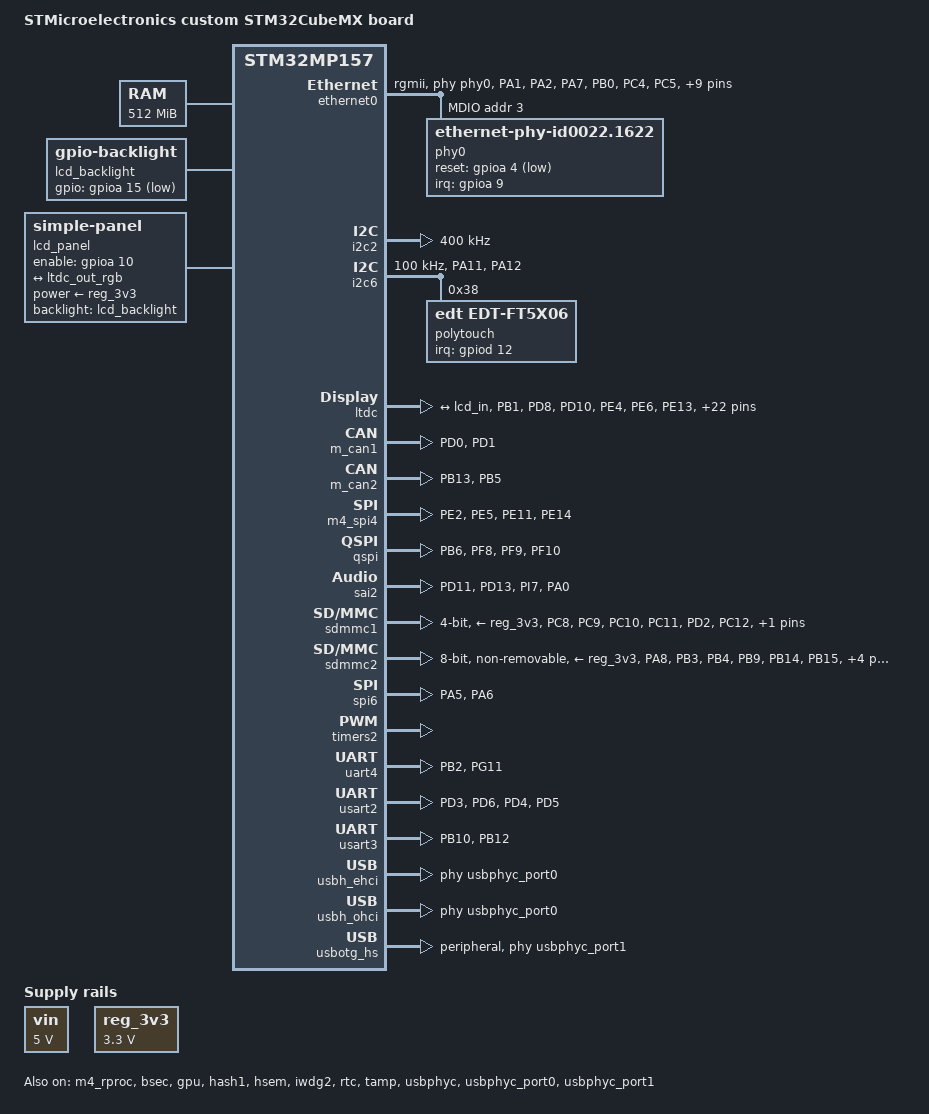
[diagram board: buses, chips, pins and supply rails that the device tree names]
/* SPDX-License-Identifier: (GPL-2.0+ OR BSD-3-Clause) */
/*
 * Copyright (C) STMicroelectronics 2021 - All Rights Reserved
 * Author: STM32CubeMX code generation for STMicroelectronics.
 */

/* For more information on Device Tree configuration, please refer to
 * https://wiki.st.com/stm32mpu/wiki/Category:Device_tree_configuration
 */

/dts-v1/;
#include <dt-bindings/pinctrl/stm32-pinfunc.h>

#include "stm32mp157.dtsi"
#include "stm32mp15xc.dtsi"
#include "stm32mp15xxac-pinctrl.dtsi"
#include "stm32mp15-m4-srm.dtsi"

/* USER CODE BEGIN includes */
#include <dt-bindings/mfd/st,stpmic1.h>
#include <dt-bindings/rtc/rtc-stm32.h>
/* USER CODE END includes */

/ {
	model = "STMicroelectronics custom STM32CubeMX board";
	compatible = "st,stm32mp157c-qsmp1570-mx", "st,stm32mp157";

	memory@c0000000 {
		device_type = "memory";
		reg = <0xc0000000 0x20000000>;

		/* USER CODE BEGIN memory */
		/* USER CODE END memory */
	};

	reserved-memory {
		#address-cells = <1>;
		#size-cells = <1>;
		ranges;

		/* USER CODE BEGIN reserved-memory */
    mcuram2:mcuram2@10000000{
			compatible = "shared-dma-pool";
			reg = <0x10000000 0x40000>;
			no-map;
		};

		vdev0vring0:vdev0vring0@10040000{
			compatible = "shared-dma-pool";
			reg = <0x10040000 0x1000>;
			no-map;
		};

		vdev0vring1:vdev0vring1@10041000{
			compatible = "shared-dma-pool";
			reg = <0x10041000 0x1000>;
			no-map;
		};

		vdev0buffer:vdev0buffer@10042000{
			compatible = "shared-dma-pool";
			reg = <0x10042000 0x4000>;
			no-map;
		};

		mcuram:mcuram@30000000{
			compatible = "shared-dma-pool";
			reg = <0x30000000 0x40000>;
			no-map;
		};

		retram:retram@38000000{
			compatible = "shared-dma-pool";
			reg = <0x38000000 0x10000>;
			no-map;
		};

		gpu_reserved:gpu@da000000{
			reg = <0xda000000 0x4000000>;
			no-map;
		};


		/* USER CODE END reserved-memory */
	};

	/* USER CODE BEGIN root */

  vin:vin{
		compatible = "regulator-fixed";
		regulator-name = "vin";
		regulator-min-microvolt = <5000000>;
		regulator-max-microvolt = <5000000>;
		regulator-always-on;
	};

/* that does not work, switches the pin but phy not found -> problem with bootstraping?
  phy_regulator: phy_regulator {
      compatible = "regulator-fixed";
      regulator-name = "phy_regulator";
      regulator-min-microvolt = <3300000>;
      regulator-max-microvolt = <3300000>;
      gpio = <&gpioa 4 GPIO_ACTIVE_HIGH>;
      enable-active-high;
      regulator-always-on;
  };
*/

	aliases{
		ethernet0 = &ethernet0;
    mmc0 = &sdmmc1;
		mmc1 = &sdmmc2;
		serial0 = &uart4;
		serial1 = &usart3;
		serial2 = &usart2;
    display0 = &lcd_panel;

	};

	chosen{
		stdout-path = "serial0:115200n8";
	};

  reg_3v3: regulator-3v3 {
		compatible = "regulator-fixed";
		regulator-name = "3v3";
		regulator-min-microvolt = <3300000>;
		regulator-max-microvolt = <3300000>;
		regulator-always-on;
	};

  vddcore:buck1{
    regulator-name = "vddcore";
    regulator-min-microvolt = <1200000>;
    regulator-max-microvolt = <1350000>;
    regulator-always-on;
    regulator-over-current-protection;
  };

  vdd_ddr:buck2{
    regulator-name = "vdd_ddr";
    regulator-min-microvolt = <1350000>;
    regulator-max-microvolt = <1350000>;
    regulator-always-on;
    regulator-over-current-protection;
  };

  usb_phy_tuning: usb-phy-tuning {
		st,hs-dc-level = <2>;
		st,fs-rftime-tuning;
		st,hs-rftime-reduction;
		st,hs-current-trim = <15>;
		st,hs-impedance-trim = <1>;
		st,squelch-level = <3>;
		st,hs-rx-offset = <2>;
		st,no-lsfs-sc;
	};


  lcd_backlight: lcd-backlight {
		compatible = "gpio-backlight";
		gpios = <&gpioa 15 GPIO_ACTIVE_LOW>;
		default-on;
    status = "okay";
	};


  /*
  lcd_backlight: lcd-backlight {
    compatible = "pwm-backlight";
    pinctrl-names = "default", "sleep";
  	pinctrl-0 = <&tim2_pwm_pins_mx>;
  	pinctrl-1 = <&tim2_pwm_sleep_pins_mx>;
  	pwms = <&qsmp_pwm2 2 500000 1>;
    power-supply = <&reg_3v3>;
    brightness-levels = < 1  2  3  4  5  6  7  8  9  10
                                  11 12 13 14 15 16 17 18 19  20
                                  21 22 23 24 25 26 27 28 29  30
                                  31 32 33 34 35 36 37 38 39  40
                                  41 42 43 44 45 46 47 48 49  50
                                  51 52 53 54 55 56 57 58 59  60
                                  61 62 63 64 65 66 67 68 69  70
                                  71 72 73 74 75 76 77 78 79  80
                                  81 82 83 84 85 86 87 88 89  90
                                  91 92 93 94 95 96 97 98 99 100
                                  >;
          default-brightness-level = <80>;
  };

  */


  lcd_panel: panel {
    compatible = "simple-panel";
    pinctrl-names = "default", "sleep";
    pinctrl-0 = <&ltdc_pins_mx>;
    pinctrl-1 = <&ltdc_sleep_pins_mx>;

    backlight = <&lcd_backlight>;
    enable-gpios = <&gpioa 10 GPIO_ACTIVE_HIGH>;

    power-supply = <&reg_3v3>;
    data-mapping = "rgb24";
    status = "okay";

    display-timings {
			timing@0 {
      clock-frequency = <33264000>;
      hactive = <800>;
      vactive = <480>;
      hback-porch = <88>;
      hsync-len = <128>;
      hfront-porch = <40>;
      vback-porch = <33>;
      vsync-len = <2>;
      vfront-porch = <10>;
      hsync-active = <0>;
      vsync-active = <0>;
      de-active = <1>;
      pixelclk-active = <0>;
			};
		};







    port@0 {
        reg = <0>;

        lcd_in: endpoint@0 {
          reg = <0>;
          remote-endpoint = <&ltdc_out_rgb>;
        };
    };
	};


	/* USER CODE END root */

	clocks {
		/* USER CODE BEGIN clocks */
		/* USER CODE END clocks */

#ifndef CONFIG_TFABOOT
		clk_lsi: clk-lsi {
			clock-frequency = <32000>;
		};
		clk_hsi: clk-hsi {
			clock-frequency = <64000000>;
		};
		clk_csi: clk-csi {
			clock-frequency = <4000000>;
		};
		clk_lse: clk-lse {
			clock-frequency = <32768>;
		};
		clk_hse: clk-hse {
			clock-frequency = <24000000>;
		};
#endif	/*CONFIG_TFABOOT*/
	};

}; /*root*/

&pinctrl {
	u-boot,dm-pre-reloc;

	eth1_pins_mx: eth1_mx-0 {
		pins1 {
			pinmux = <STM32_PINMUX('A', 1, AF11)>; /* ETH1_RX_CLK */
			bias-pull-down;
		};
		pins2 {
			pinmux = <STM32_PINMUX('A', 2, AF11)>; /* ETH1_MDIO */
			bias-disable;
			drive-push-pull;
			slew-rate = <0>;
		};
		pins3 {
			pinmux = <STM32_PINMUX('A', 7, AF11)>, /* ETH1_RX_CTL */
					 <STM32_PINMUX('B', 0, AF11)>, /* ETH1_RXD2 */
					 <STM32_PINMUX('C', 4, AF11)>, /* ETH1_RXD0 */
					 <STM32_PINMUX('C', 5, AF11)>, /* ETH1_RXD1 */
					 <STM32_PINMUX('H', 7, AF11)>; /* ETH1_RXD3 */
			bias-pull-up;
		};
		pins4 {
			pinmux = <STM32_PINMUX('B', 8, AF11)>, /* ETH1_TXD3 */
					 <STM32_PINMUX('B', 11, AF11)>, /* ETH1_TX_CTL */
					 <STM32_PINMUX('C', 1, AF11)>, /* ETH1_MDC */
					 <STM32_PINMUX('C', 2, AF11)>, /* ETH1_TXD2 */
					 <STM32_PINMUX('G', 4, AF11)>, /* ETH1_GTX_CLK */
					 <STM32_PINMUX('G', 13, AF11)>, /* ETH1_TXD0 */
					 <STM32_PINMUX('G', 14, AF11)>; /* ETH1_TXD1 */
			bias-disable;
			drive-push-pull;
			slew-rate = <2>;
		};
		pins5 {
			pinmux = <STM32_PINMUX('G', 5, AF11)>; /* ETH1_CLK125 */
			bias-pull-down;
			drive-push-pull;
			slew-rate = <2>;
		};
	};

	eth1_sleep_pins_mx: eth1_sleep_mx-0 {
		pins {
			pinmux = <STM32_PINMUX('A', 1, ANALOG)>, /* ETH1_RX_CLK */
					 <STM32_PINMUX('A', 2, ANALOG)>, /* ETH1_MDIO */
					 <STM32_PINMUX('A', 7, ANALOG)>, /* ETH1_RX_CTL */
					 <STM32_PINMUX('B', 0, ANALOG)>, /* ETH1_RXD2 */
					 <STM32_PINMUX('B', 8, ANALOG)>, /* ETH1_TXD3 */
					 <STM32_PINMUX('B', 11, ANALOG)>, /* ETH1_TX_CTL */
					 <STM32_PINMUX('C', 1, ANALOG)>, /* ETH1_MDC */
					 <STM32_PINMUX('C', 2, ANALOG)>, /* ETH1_TXD2 */
					 <STM32_PINMUX('C', 4, ANALOG)>, /* ETH1_RXD0 */
					 <STM32_PINMUX('C', 5, ANALOG)>, /* ETH1_RXD1 */
					 <STM32_PINMUX('G', 4, ANALOG)>, /* ETH1_GTX_CLK */
					 <STM32_PINMUX('G', 5, ANALOG)>, /* ETH1_CLK125 */
					 <STM32_PINMUX('G', 13, ANALOG)>, /* ETH1_TXD0 */
					 <STM32_PINMUX('G', 14, ANALOG)>, /* ETH1_TXD1 */
					 <STM32_PINMUX('H', 7, ANALOG)>; /* ETH1_RXD3 */
		};
	};

	fdcan1_pins_mx: fdcan1_mx-0 {
		pins1 {
			pinmux = <STM32_PINMUX('D', 0, AF9)>; /* FDCAN1_RX */
			bias-disable;
		};
		pins2 {
			pinmux = <STM32_PINMUX('D', 1, AF9)>; /* FDCAN1_TX */
			bias-disable;
			drive-push-pull;
			slew-rate = <0>;
		};
	};

	fdcan1_sleep_pins_mx: fdcan1_sleep_mx-0 {
		pins {
			pinmux = <STM32_PINMUX('D', 0, ANALOG)>, /* FDCAN1_RX */
					 <STM32_PINMUX('D', 1, ANALOG)>; /* FDCAN1_TX */
		};
	};

	fdcan2_pins_mx: fdcan2_mx-0 {
		pins1 {
			pinmux = <STM32_PINMUX('B', 13, AF9)>; /* FDCAN2_TX */
			bias-disable;
			drive-push-pull;
			slew-rate = <0>;
		};
		pins2 {
			pinmux = <STM32_PINMUX('B', 5, AF9)>; /* FDCAN2_RX */
			bias-disable;
		};
	};

	fdcan2_sleep_pins_mx: fdcan2_sleep_mx-0 {
		pins {
			pinmux = <STM32_PINMUX('B', 5, ANALOG)>, /* FDCAN2_RX */
					 <STM32_PINMUX('B', 13, ANALOG)>; /* FDCAN2_TX */
		};
	};

	i2c6_pins_mx: i2c6_mx-0 {
		pins {
			pinmux = <STM32_PINMUX('A', 11, AF2)>, /* I2C6_SCL */
					 <STM32_PINMUX('A', 12, AF2)>; /* I2C6_SDA */
			bias-disable;
			drive-open-drain;
			slew-rate = <0>;
		};
	};

	i2c6_sleep_pins_mx: i2c6_sleep_mx-0 {
		pins {
			pinmux = <STM32_PINMUX('A', 11, ANALOG)>, /* I2C6_SCL */
					 <STM32_PINMUX('A', 12, ANALOG)>; /* I2C6_SDA */
		};
	};

	ltdc_pins_mx: ltdc_mx-0 {
		pins1 {
			pinmux = <STM32_PINMUX('B', 1, AF14)>, /* LTDC_G0 */
					 <STM32_PINMUX('D', 8, AF14)>, /* LTDC_B7 */
					 <STM32_PINMUX('D', 10, AF14)>, /* LTDC_B3 */
					 <STM32_PINMUX('E', 4, AF14)>, /* LTDC_B0 */
					 <STM32_PINMUX('E', 6, AF14)>, /* LTDC_G1 */
					 <STM32_PINMUX('E', 13, AF14)>, /* LTDC_DE */
					 <STM32_PINMUX('E', 15, AF14)>, /* LTDC_R7 */
					 <STM32_PINMUX('G', 10, AF14)>, /* LTDC_B2 */
					 <STM32_PINMUX('G', 12, AF14)>, /* LTDC_B1 */
					 <STM32_PINMUX('H', 2, AF14)>, /* LTDC_R0 */
					 <STM32_PINMUX('H', 3, AF14)>, /* LTDC_R1 */
					 <STM32_PINMUX('H', 8, AF14)>, /* LTDC_R2 */
					 <STM32_PINMUX('H', 9, AF14)>, /* LTDC_R3 */
					 <STM32_PINMUX('H', 10, AF14)>, /* LTDC_R4 */
					 <STM32_PINMUX('H', 11, AF14)>, /* LTDC_R5 */
					 <STM32_PINMUX('H', 12, AF14)>, /* LTDC_R6 */
					 <STM32_PINMUX('H', 13, AF14)>, /* LTDC_G2 */
					 <STM32_PINMUX('H', 14, AF14)>, /* LTDC_G3 */
					 <STM32_PINMUX('H', 15, AF14)>, /* LTDC_G4 */
					 <STM32_PINMUX('I', 0, AF14)>, /* LTDC_G5 */
					 <STM32_PINMUX('I', 1, AF14)>, /* LTDC_G6 */
					 <STM32_PINMUX('I', 2, AF14)>, /* LTDC_G7 */
					 <STM32_PINMUX('I', 4, AF14)>, /* LTDC_B4 */
					 <STM32_PINMUX('I', 5, AF14)>, /* LTDC_B5 */
					 <STM32_PINMUX('I', 6, AF14)>, /* LTDC_B6 */
					 <STM32_PINMUX('I', 9, AF14)>, /* LTDC_VSYNC */
					 <STM32_PINMUX('I', 10, AF14)>; /* LTDC_HSYNC */
			bias-disable;
			drive-push-pull;
			slew-rate = <0>;
		};
		pins2 {
			pinmux = <STM32_PINMUX('G', 7, AF14)>; /* LTDC_CLK */
			bias-disable;
			drive-push-pull;
			slew-rate = <1>;
		};
	};

	ltdc_sleep_pins_mx: ltdc_sleep_mx-0 {
		pins {
			pinmux = <STM32_PINMUX('B', 1, ANALOG)>, /* LTDC_G0 */
					 <STM32_PINMUX('D', 8, ANALOG)>, /* LTDC_B7 */
					 <STM32_PINMUX('D', 10, ANALOG)>, /* LTDC_B3 */
					 <STM32_PINMUX('E', 4, ANALOG)>, /* LTDC_B0 */
					 <STM32_PINMUX('E', 6, ANALOG)>, /* LTDC_G1 */
					 <STM32_PINMUX('E', 13, ANALOG)>, /* LTDC_DE */
					 <STM32_PINMUX('E', 15, ANALOG)>, /* LTDC_R7 */
					 <STM32_PINMUX('G', 7, ANALOG)>, /* LTDC_CLK */
					 <STM32_PINMUX('G', 10, ANALOG)>, /* LTDC_B2 */
					 <STM32_PINMUX('G', 12, ANALOG)>, /* LTDC_B1 */
					 <STM32_PINMUX('H', 2, ANALOG)>, /* LTDC_R0 */
					 <STM32_PINMUX('H', 3, ANALOG)>, /* LTDC_R1 */
					 <STM32_PINMUX('H', 8, ANALOG)>, /* LTDC_R2 */
					 <STM32_PINMUX('H', 9, ANALOG)>, /* LTDC_R3 */
					 <STM32_PINMUX('H', 10, ANALOG)>, /* LTDC_R4 */
					 <STM32_PINMUX('H', 11, ANALOG)>, /* LTDC_R5 */
					 <STM32_PINMUX('H', 12, ANALOG)>, /* LTDC_R6 */
					 <STM32_PINMUX('H', 13, ANALOG)>, /* LTDC_G2 */
					 <STM32_PINMUX('H', 14, ANALOG)>, /* LTDC_G3 */
					 <STM32_PINMUX('H', 15, ANALOG)>, /* LTDC_G4 */
					 <STM32_PINMUX('I', 0, ANALOG)>, /* LTDC_G5 */
					 <STM32_PINMUX('I', 1, ANALOG)>, /* LTDC_G6 */
					 <STM32_PINMUX('I', 2, ANALOG)>, /* LTDC_G7 */
					 <STM32_PINMUX('I', 4, ANALOG)>, /* LTDC_B4 */
					 <STM32_PINMUX('I', 5, ANALOG)>, /* LTDC_B5 */
					 <STM32_PINMUX('I', 6, ANALOG)>, /* LTDC_B6 */
					 <STM32_PINMUX('I', 9, ANALOG)>, /* LTDC_VSYNC */
					 <STM32_PINMUX('I', 10, ANALOG)>; /* LTDC_HSYNC */
		};
	};

	m4_spi4_pins_mx: m4_spi4_mx-0 {
		pins {
			pinmux = <STM32_PINMUX('E', 2, RSVD)>, /* SPI4_SCK */
					 <STM32_PINMUX('E', 5, RSVD)>, /* SPI4_MISO */
					 <STM32_PINMUX('E', 11, RSVD)>, /* SPI4_NSS */
					 <STM32_PINMUX('E', 14, RSVD)>; /* SPI4_MOSI */
		};
	};

	quadspi_pins_mx: quadspi_mx-0 {
		pins1 {
			pinmux = <STM32_PINMUX('B', 6, AF10)>, /* QUADSPI_BK1_NCS */
					 <STM32_PINMUX('F', 8, AF10)>, /* QUADSPI_BK1_IO0 */
					 <STM32_PINMUX('F', 9, AF10)>; /* QUADSPI_BK1_IO1 */
			bias-disable;
			drive-push-pull;
			slew-rate = <1>;
		};
		pins2 {
			pinmux = <STM32_PINMUX('F', 10, AF9)>; /* QUADSPI_CLK */
			bias-disable;
			drive-push-pull;
			slew-rate = <2>;
		};
	};

	quadspi_sleep_pins_mx: quadspi_sleep_mx-0 {
		pins {
			pinmux = <STM32_PINMUX('B', 6, ANALOG)>, /* QUADSPI_BK1_NCS */
					 <STM32_PINMUX('F', 8, ANALOG)>, /* QUADSPI_BK1_IO0 */
					 <STM32_PINMUX('F', 9, ANALOG)>, /* QUADSPI_BK1_IO1 */
					 <STM32_PINMUX('F', 10, ANALOG)>; /* QUADSPI_CLK */
		};
	};

	sai2a_pins_mx: sai2a_mx-0 {
		pins {
			pinmux = <STM32_PINMUX('D', 11, AF10)>, /* SAI2_SD_A */
					 <STM32_PINMUX('D', 13, AF10)>, /* SAI2_SCK_A */
					 <STM32_PINMUX('I', 7, AF10)>; /* SAI2_FS_A */
			bias-disable;
			drive-push-pull;
			slew-rate = <0>;
		};
	};

	sai2a_sleep_pins_mx: sai2a_sleep_mx-0 {
		pins {
			pinmux = <STM32_PINMUX('D', 11, ANALOG)>, /* SAI2_SD_A */
					 <STM32_PINMUX('D', 13, ANALOG)>, /* SAI2_SCK_A */
					 <STM32_PINMUX('I', 7, ANALOG)>; /* SAI2_FS_A */
		};
	};

	sai2b_pins_mx: sai2b_mx-0 {
		pins {
			pinmux = <STM32_PINMUX('A', 0, AF10)>; /* SAI2_SD_B */
			bias-disable;
			drive-push-pull;
			slew-rate = <0>;
		};
	};

	sai2b_sleep_pins_mx: sai2b_sleep_mx-0 {
		pins {
			pinmux = <STM32_PINMUX('A', 0, ANALOG)>; /* SAI2_SD_B */
		};
	};

	sdmmc1_pins_mx: sdmmc1_mx-0 {
		pins1 {
			pinmux = <STM32_PINMUX('C', 8, AF12)>, /* SDMMC1_D0 */
					 <STM32_PINMUX('C', 9, AF12)>, /* SDMMC1_D1 */
					 <STM32_PINMUX('C', 10, AF12)>, /* SDMMC1_D2 */
					 <STM32_PINMUX('C', 11, AF12)>, /* SDMMC1_D3 */
					 <STM32_PINMUX('D', 2, AF12)>; /* SDMMC1_CMD */
			bias-disable;
			drive-push-pull;
			slew-rate = <1>;
		};
		pins2 {
			pinmux = <STM32_PINMUX('C', 12, AF12)>; /* SDMMC1_CK */
			bias-disable;
			drive-push-pull;
			slew-rate = <3>;
		};
	};

	sdmmc1_opendrain_pins_mx: sdmmc1_opendrain_mx-0 {
		pins1 {
			pinmux = <STM32_PINMUX('C', 8, AF12)>, /* SDMMC1_D0 */
					 <STM32_PINMUX('C', 9, AF12)>, /* SDMMC1_D1 */
					 <STM32_PINMUX('C', 10, AF12)>, /* SDMMC1_D2 */
					 <STM32_PINMUX('C', 11, AF12)>; /* SDMMC1_D3 */
			bias-disable;
			drive-push-pull;
			slew-rate = <1>;
		};
		pins2 {
			pinmux = <STM32_PINMUX('C', 12, AF12)>; /* SDMMC1_CK */
			bias-disable;
			drive-push-pull;
			slew-rate = <3>;
		};
		pins3 {
			pinmux = <STM32_PINMUX('D', 2, AF12)>; /* SDMMC1_CMD */
			bias-disable;
			drive-open-drain;
			slew-rate = <1>;
		};
	};

	sdmmc1_sleep_pins_mx: sdmmc1_sleep_mx-0 {
		pins {
			pinmux = <STM32_PINMUX('C', 8, ANALOG)>, /* SDMMC1_D0 */
					 <STM32_PINMUX('C', 9, ANALOG)>, /* SDMMC1_D1 */
					 <STM32_PINMUX('C', 10, ANALOG)>, /* SDMMC1_D2 */
					 <STM32_PINMUX('C', 11, ANALOG)>, /* SDMMC1_D3 */
					 <STM32_PINMUX('C', 12, ANALOG)>, /* SDMMC1_CK */
					 <STM32_PINMUX('D', 2, ANALOG)>; /* SDMMC1_CMD */
		};
	};

	sdmmc2_pins_mx: sdmmc2_mx-0 {
		u-boot,dm-pre-reloc;
		pins1 {
			u-boot,dm-pre-reloc;
			pinmux = <STM32_PINMUX('A', 8, AF9)>, /* SDMMC2_D4 */
					 <STM32_PINMUX('B', 3, AF9)>, /* SDMMC2_D2 */
					 <STM32_PINMUX('B', 4, AF9)>, /* SDMMC2_D3 */
					 <STM32_PINMUX('B', 9, AF10)>, /* SDMMC2_D5 */
					 <STM32_PINMUX('B', 14, AF9)>, /* SDMMC2_D0 */
					 <STM32_PINMUX('B', 15, AF9)>, /* SDMMC2_D1 */
					 <STM32_PINMUX('C', 6, AF10)>, /* SDMMC2_D6 */
					 <STM32_PINMUX('C', 7, AF10)>, /* SDMMC2_D7 */
					 <STM32_PINMUX('G', 6, AF10)>; /* SDMMC2_CMD */
			bias-disable;
			drive-push-pull;
			slew-rate = <1>;
		};
		pins2 {
			u-boot,dm-pre-reloc;
			pinmux = <STM32_PINMUX('E', 3, AF9)>; /* SDMMC2_CK */
			bias-disable;
			drive-push-pull;
			slew-rate = <3>;
		};
	};

	sdmmc2_opendrain_pins_mx: sdmmc2_opendrain_mx-0 {
		u-boot,dm-pre-reloc;
		pins1 {
			u-boot,dm-pre-reloc;
			pinmux = <STM32_PINMUX('A', 8, AF9)>, /* SDMMC2_D4 */
					 <STM32_PINMUX('B', 3, AF9)>, /* SDMMC2_D2 */
					 <STM32_PINMUX('B', 4, AF9)>, /* SDMMC2_D3 */
					 <STM32_PINMUX('B', 9, AF10)>, /* SDMMC2_D5 */
					 <STM32_PINMUX('B', 14, AF9)>, /* SDMMC2_D0 */
					 <STM32_PINMUX('B', 15, AF9)>, /* SDMMC2_D1 */
					 <STM32_PINMUX('C', 6, AF10)>, /* SDMMC2_D6 */
					 <STM32_PINMUX('C', 7, AF10)>; /* SDMMC2_D7 */
			bias-disable;
			drive-push-pull;
			slew-rate = <1>;
		};
		pins2 {
			u-boot,dm-pre-reloc;
			pinmux = <STM32_PINMUX('E', 3, AF9)>; /* SDMMC2_CK */
			bias-disable;
			drive-push-pull;
			slew-rate = <3>;
		};
		pins3 {
			u-boot,dm-pre-reloc;
			pinmux = <STM32_PINMUX('G', 6, AF10)>; /* SDMMC2_CMD */
			bias-disable;
			drive-open-drain;
			slew-rate = <1>;
		};
	};

	sdmmc2_sleep_pins_mx: sdmmc2_sleep_mx-0 {
		u-boot,dm-pre-reloc;
		pins {
			u-boot,dm-pre-reloc;
			pinmux = <STM32_PINMUX('A', 8, ANALOG)>, /* SDMMC2_D4 */
					 <STM32_PINMUX('B', 3, ANALOG)>, /* SDMMC2_D2 */
					 <STM32_PINMUX('B', 4, ANALOG)>, /* SDMMC2_D3 */
					 <STM32_PINMUX('B', 9, ANALOG)>, /* SDMMC2_D5 */
					 <STM32_PINMUX('B', 14, ANALOG)>, /* SDMMC2_D0 */
					 <STM32_PINMUX('B', 15, ANALOG)>, /* SDMMC2_D1 */
					 <STM32_PINMUX('C', 6, ANALOG)>, /* SDMMC2_D6 */
					 <STM32_PINMUX('C', 7, ANALOG)>, /* SDMMC2_D7 */
					 <STM32_PINMUX('E', 3, ANALOG)>, /* SDMMC2_CK */
					 <STM32_PINMUX('G', 6, ANALOG)>; /* SDMMC2_CMD */
		};
	};

	spi6_pins_mx: spi6_mx-0 {
		pins {
			pinmux = <STM32_PINMUX('A', 5, AF8)>, /* SPI6_SCK */
					 <STM32_PINMUX('A', 6, AF8)>; /* SPI6_MISO */
			bias-disable;
			drive-push-pull;
			slew-rate = <1>;
		};
	};

	spi6_sleep_pins_mx: spi6_sleep_mx-0 {
		pins {
			pinmux = <STM32_PINMUX('A', 5, ANALOG)>, /* SPI6_SCK */
					 <STM32_PINMUX('A', 6, ANALOG)>; /* SPI6_MISO */
		};
	};

	tim2_pwm_pins_mx: tim2_pwm_mx-0 {
		pins {
			pinmux = <STM32_PINMUX('A', 15, AF1)>; /* TIM2_CH1 */
			bias-pull-up;
			drive-push-pull;
			slew-rate = <0>;
		};
	};

	tim2_pwm_sleep_pins_mx: tim2_pwm_sleep_mx-0 {
		pins {
			pinmux = <STM32_PINMUX('A', 15, ANALOG)>; /* TIM2_CH1 */
		};
	};

	uart4_pins_mx: uart4_mx-0 {
		u-boot,dm-pre-reloc;
		pins1 {
			u-boot,dm-pre-reloc;
			pinmux = <STM32_PINMUX('B', 2, AF8)>; /* UART4_RX */
			bias-pull-up;
		};
		pins2 {
			u-boot,dm-pre-reloc;
			pinmux = <STM32_PINMUX('G', 11, AF6)>; /* UART4_TX */
			bias-disable;
			drive-push-pull;
			slew-rate = <0>;
		};
	};

	uart4_sleep_pins_mx: uart4_sleep_mx-0 {
		u-boot,dm-pre-reloc;
		pins {
			u-boot,dm-pre-reloc;
			pinmux = <STM32_PINMUX('B', 2, ANALOG)>, /* UART4_RX */
					 <STM32_PINMUX('G', 11, ANALOG)>; /* UART4_TX */
		};
	};

	usart2_pins_mx: usart2_mx-0 {
		pins1 {
			pinmux = <STM32_PINMUX('D', 3, AF7)>, /* USART2_CTS */
					 <STM32_PINMUX('D', 6, AF7)>; /* USART2_RX */
			bias-disable;
		};
		pins2 {
			pinmux = <STM32_PINMUX('D', 4, AF7)>, /* USART2_RTS */
					 <STM32_PINMUX('D', 5, AF7)>; /* USART2_TX */
			bias-disable;
			drive-push-pull;
			slew-rate = <0>;
		};
	};

	usart2_sleep_pins_mx: usart2_sleep_mx-0 {
		pins {
			pinmux = <STM32_PINMUX('D', 3, ANALOG)>, /* USART2_CTS */
					 <STM32_PINMUX('D', 4, ANALOG)>, /* USART2_RTS */
					 <STM32_PINMUX('D', 5, ANALOG)>, /* USART2_TX */
					 <STM32_PINMUX('D', 6, ANALOG)>; /* USART2_RX */
		};
	};

	usart3_pins_mx: usart3_mx-0 {
		pins1 {
			pinmux = <STM32_PINMUX('B', 10, AF7)>; /* USART3_TX */
			bias-disable;
			drive-push-pull;
			slew-rate = <0>;
		};
		pins2 {
			pinmux = <STM32_PINMUX('B', 12, AF8)>; /* USART3_RX */
			bias-disable;
		};
	};

	usart3_sleep_pins_mx: usart3_sleep_mx-0 {
		pins {
			pinmux = <STM32_PINMUX('B', 10, ANALOG)>, /* USART3_TX */
					 <STM32_PINMUX('B', 12, ANALOG)>; /* USART3_RX */
		};
	};

	/* USER CODE BEGIN pinctrl */
	/* USER CODE END pinctrl */
};

&pinctrl_z {
	u-boot,dm-pre-reloc;

	i2c2_pins_z_mx: i2c2_mx-0 {
		pins {
			pinmux = <STM32_PINMUX('Z', 0, AF3)>, /* I2C2_SCL */
					 <STM32_PINMUX('Z', 1, AF3)>; /* I2C2_SDA */
			bias-disable;
			drive-open-drain;
			slew-rate = <0>;
		};
	};

	i2c2_sleep_pins_z_mx: i2c2_sleep_mx-0 {
		pins {
			pinmux = <STM32_PINMUX('Z', 0, ANALOG)>, /* I2C2_SCL */
					 <STM32_PINMUX('Z', 1, ANALOG)>; /* I2C2_SDA */
		};
	};

	spi6_pins_z_mx: spi6_mx-0 {
		pins {
			pinmux = <STM32_PINMUX('Z', 2, AF8)>, /* SPI6_MOSI */
					 <STM32_PINMUX('Z', 3, AF8)>; /* SPI6_NSS */
			bias-disable;
			drive-push-pull;
			slew-rate = <1>;
		};
	};

	spi6_sleep_pins_z_mx: spi6_sleep_mx-0 {
		pins {
			pinmux = <STM32_PINMUX('Z', 2, ANALOG)>, /* SPI6_MOSI */
					 <STM32_PINMUX('Z', 3, ANALOG)>; /* SPI6_NSS */
		};
	};

	/* USER CODE BEGIN pinctrl_z */
	/* USER CODE END pinctrl_z */
};

&m4_rproc{
	status = "okay";

	/* USER CODE BEGIN m4_rproc */
  /*Restriction: "memory-region" property is not managed - please to use User-Section if needed*/
  mboxes = <&ipcc 0>, <&ipcc 1>, <&ipcc 2>;
  mbox-names = "vq0", "vq1", "shutdown";

  memory-region = <&retram>, <&mcuram>, <&mcuram2>, <&vdev0vring0>, <&vdev0vring1>, <&vdev0buffer>;
	interrupt-parent = <&exti>;
	interrupts = <68 1>;
	wakeup-source;
  recovery;
	/* USER CODE END m4_rproc */

	m4_system_resources{
		status = "okay";

		/* USER CODE BEGIN m4_system_resources */
		/* USER CODE END m4_system_resources */
	};
};

&bsec{
	status = "okay";

	/* USER CODE BEGIN bsec */
  secure-status = "okay";
	/* USER CODE END bsec */
};

&dma1{
	status = "okay";

	/* USER CODE BEGIN dma1 */
  sram = <&dma_pool>;
	/* USER CODE END dma1 */
};

&dma2{
	status = "disabled";

	/* USER CODE BEGIN dma2 */
  sram = <&dma_pool>;
	/* USER CODE END dma2 */
};

&dmamux1{

	dma-masters = <&dma1>;
	dma-channels = <8>;

	status = "okay";

	/* USER CODE BEGIN dmamux1 */
	/* USER CODE END dmamux1 */
};

&ethernet0{
	pinctrl-names = "default", "sleep";
	pinctrl-0 = <&eth1_pins_mx>;
	pinctrl-1 = <&eth1_sleep_pins_mx>;
	status = "okay";

	/* USER CODE BEGIN ethernet0 */
  phy-mode = "rgmii";
  max-speed = <1000>;
  phy-handle = <&phy0>;


  mdio0 {
		#address-cells = <1>;
		#size-cells = <0>;
		compatible = "snps,dwmac-mdio";

		phy0: ethernet-phy@3 { /* KSZ9031RN */
      compatible = "ethernet-phy-id0022.1622";
      reset-gpios = <&gpioa 4 GPIO_ACTIVE_LOW>;
      reset-assert-us = <10000>;
			reset-deassert-us = <300>;
			reg = <3>;
			interrupt-parent = <&gpioa>;
			interrupts = <9 IRQ_TYPE_EDGE_FALLING>;
      micrel,force-master;
			rxd0-skew-ps = <(420 + 6)>;
			rxd1-skew-ps = <(420 + 5)>;
			rxd2-skew-ps = <(420 - 1)>;
			rxd3-skew-ps = <(420 - 22)>;
			txd0-skew-ps = <(420 - 103)>;
			txd1-skew-ps = <(420 - 104)>;
			txd2-skew-ps = <(420 - 73)>;
			txd3-skew-ps = <(420 - 25)>;
			txen-skew-ps = <(420 + 15)>;
			rxdv-skew-ps = <(420 - 12)>;
			rxc-skew-ps = <(900 + 0)>;
			txc-skew-ps = <(900 + 1000)>;
		};
	};
	/* USER CODE END ethernet0 */
};

&gpu{
	status = "okay";

	/* USER CODE BEGIN gpu */
  contiguous-area = <&gpu_reserved>;
	/* USER CODE END gpu */
};

&hash1{
	u-boot,dm-pre-reloc;
	status = "okay";

	/* USER CODE BEGIN hash1 */
	/* USER CODE END hash1 */
};

&hsem{
	status = "okay";

	/* USER CODE BEGIN hsem */
	/* USER CODE END hsem */
};

&i2c2{
	pinctrl-names = "default", "sleep";
	pinctrl-0 = <&i2c2_pins_z_mx>;
	pinctrl-1 = <&i2c2_sleep_pins_z_mx>;
	status = "okay";

	/* USER CODE BEGIN i2c2 */
  i2c-scl-rising-time-ns = <185>;
  i2c-scl-falling-time-ns = <20>;
  clock-frequency = <400000>;
  /delete-property/ dmas;
  /delete-property/ dma-names;

	/* USER CODE END i2c2 */
};

&i2c6{
	pinctrl-names = "default", "sleep";
	pinctrl-0 = <&i2c6_pins_mx>;
	pinctrl-1 = <&i2c6_sleep_pins_mx>;
	status = "okay";

	/* USER CODE BEGIN i2c6 */
  i2c-scl-rising-time-ns = <100>;
  i2c-scl-falling-time-ns = <7>;
  clock-frequency = <100000>;
  /delete-property/ dmas;
  /delete-property/ dma-names;

  polytouch: touchpanel@38 {
		compatible = "edt,edt-ft5x06";
		reg = <0x38>;
    interrupt-parent = <&gpiod>;
  	interrupts = <12 IRQ_TYPE_EDGE_FALLING>;
		wakeup-source;
		status = "okay";
	};




	/* USER CODE END i2c6 */
};

&iwdg2{
	status = "okay";

	/* USER CODE BEGIN iwdg2 */
  timeout-sec = <32>;
	/* USER CODE END iwdg2 */
};

&ltdc{
	pinctrl-names = "default", "sleep";
	pinctrl-0 = <&ltdc_pins_mx>;
	pinctrl-1 = <&ltdc_sleep_pins_mx>;
	status = "okay";

	/* USER CODE BEGIN ltdc */

  port@0 {
		#address-cells = <1>;
		#size-cells = <0>;
    reg = <0>;

    ltdc_out_rgb: endpoint@0 {
          reg = <0>;
          remote-endpoint = <&lcd_in>;
		};
  };



	/* USER CODE END ltdc */
};

&m_can1{
	pinctrl-names = "default", "sleep";
	pinctrl-0 = <&fdcan1_pins_mx>;
	pinctrl-1 = <&fdcan1_sleep_pins_mx>;
	status = "okay";

	/* USER CODE BEGIN m_can1 */
	/* USER CODE END m_can1 */
};

&m_can2{
	pinctrl-names = "default", "sleep";
	pinctrl-0 = <&fdcan2_pins_mx>;
	pinctrl-1 = <&fdcan2_sleep_pins_mx>;
	status = "okay";

	/* USER CODE BEGIN m_can2 */
	/* USER CODE END m_can2 */
};

&m4_dma2{
	status = "okay";

	/* USER CODE BEGIN m4_dma2 */
	/* USER CODE END m4_dma2 */
};

&m4_spi4{
	pinctrl-names = "default";
	pinctrl-0 = <&m4_spi4_pins_mx>;
	status = "okay";

	/* USER CODE BEGIN m4_spi4 */
	/* USER CODE END m4_spi4 */
};

&mdma1{
	status = "okay";

	/* USER CODE BEGIN mdma1 */
	/* USER CODE END mdma1 */
};

&qspi{
	pinctrl-names = "default", "sleep";
	pinctrl-0 = <&quadspi_pins_mx>;
	pinctrl-1 = <&quadspi_sleep_pins_mx>;
	status = "okay";

	/* USER CODE BEGIN qspi */
	/* USER CODE END qspi */
};

&rcc{
	u-boot,dm-pre-reloc;
	status = "okay";

	/* USER CODE BEGIN rcc */
	/* USER CODE END rcc */
};

&rtc{
	status = "okay";

	/* USER CODE BEGIN rtc */
  secure-status = "okay";
	/* USER CODE END rtc */
};

&sai2{
	pinctrl-names = "default", "sleep";
	pinctrl-0 = <&sai2a_pins_mx>, <&sai2b_pins_mx>;
	pinctrl-1 = <&sai2a_sleep_pins_mx>, <&sai2b_sleep_pins_mx>;
	status = "okay";

	/* USER CODE BEGIN sai2 */
	/* USER CODE END sai2 */

	sai2a:audio-controller@4400b004{
		status = "okay";

		/* USER CODE BEGIN sai2a */
		/* USER CODE END sai2a */
	};

	sai2b:audio-controller@4400b024{
		status = "okay";

		/* USER CODE BEGIN sai2b */
		/* USER CODE END sai2b */
	};
};

&sdmmc1{
	pinctrl-names = "default", "opendrain", "sleep";
	pinctrl-0 = <&sdmmc1_pins_mx>;
	pinctrl-1 = <&sdmmc1_opendrain_pins_mx>;
	pinctrl-2 = <&sdmmc1_sleep_pins_mx>;
	status = "okay";

	/* USER CODE BEGIN sdmmc1 */
  cd-gpios = <&gpiob 7 (GPIO_ACTIVE_LOW | GPIO_PULL_UP)>;
	disable-wp;
	st,neg-edge;
  no-1-8-v;
	bus-width = <4>;
	vmmc-supply = <&reg_3v3>;
	/* USER CODE END sdmmc1 */
};

&sdmmc2{
	u-boot,dm-pre-reloc;
	pinctrl-names = "default", "opendrain", "sleep";
	pinctrl-0 = <&sdmmc2_pins_mx>;
	pinctrl-1 = <&sdmmc2_opendrain_pins_mx>;
	pinctrl-2 = <&sdmmc2_sleep_pins_mx>;
	status = "okay";

	/* USER CODE BEGIN sdmmc2 */
  bus-width = <8>;
  vmmc-supply = <&reg_3v3>;
  no-1-8-v;
  no-sd;
  no-sdio;
  st,neg-edge;
  non-removable;

	/* USER CODE END sdmmc2 */
};

&spi6{
	pinctrl-names = "default", "sleep";
	pinctrl-0 = <&spi6_pins_mx &spi6_pins_z_mx>;
	pinctrl-1 = <&spi6_sleep_pins_mx &spi6_sleep_pins_z_mx>;
	status = "okay";

	/* USER CODE BEGIN spi6 */
	/* USER CODE END spi6 */
};

&tamp{
	status = "okay";

	/* USER CODE BEGIN tamp */
	/* USER CODE END tamp */
};

&timers2{
	status = "okay";

	/* USER CODE BEGIN timers2 */
	/* USER CODE END timers2 */

	pwm{
		pinctrl-names = "default", "sleep";
		pinctrl-0 = <&tim2_pwm_pins_mx>;
		pinctrl-1 = <&tim2_pwm_sleep_pins_mx>;
		status = "okay";

		/* USER CODE BEGIN timers2_pwm */
		/* USER CODE END timers2_pwm */
	};
};

&uart4{
	u-boot,dm-pre-reloc;
	pinctrl-names = "default", "sleep";
	pinctrl-0 = <&uart4_pins_mx>;
	pinctrl-1 = <&uart4_sleep_pins_mx>;
	status = "okay";

	/* USER CODE BEGIN uart4 */
  /delete-property/ dmas;
  /delete-property/ dma-names;
	/* USER CODE END uart4 */
};

&usart2{
	pinctrl-names = "default", "sleep";
	pinctrl-0 = <&usart2_pins_mx>;
	pinctrl-1 = <&usart2_sleep_pins_mx>;
	status = "okay";

	/* USER CODE BEGIN usart2 */
  uart-has-rtscts;
	/* USER CODE END usart2 */
};

&usart3{
	pinctrl-names = "default", "sleep";
	pinctrl-0 = <&usart3_pins_mx>;
	pinctrl-1 = <&usart3_sleep_pins_mx>;
	status = "okay";

	/* USER CODE BEGIN usart3 */
	/* USER CODE END usart3 */
};

&usbh_ehci{
	status = "okay";

	/* USER CODE BEGIN usbh_ehci */
  phys = <&usbphyc_port0>;
  phy-names = "usb";
	/* USER CODE END usbh_ehci */
};

&usbh_ohci{
	status = "okay";

	/* USER CODE BEGIN usbh_ohci */
  phy-names = "usb";
  phys = <&usbphyc_port0>;
	/* USER CODE END usbh_ohci */
};

&usbotg_hs{
	u-boot,dm-pre-reloc;
	status = "okay";

	/* USER CODE BEGIN usbotg_hs */
  phys = <&usbphyc_port1 0>;
	phy-names = "usb2-phy";
  dr_mode = "peripheral";
	/* usb-role-switch; we do not have ID pin */
	/* USER CODE END usbotg_hs */
};

&usbphyc{
	u-boot,dm-pre-reloc;
	status = "okay";

	/* USER CODE BEGIN usbphyc */
	/* USER CODE END usbphyc */
};

&usbphyc_port0{
	u-boot,dm-pre-reloc;
	status = "okay";

	/* USER CODE BEGIN usbphyc_port0 */
  phy-supply = <&reg_3v3>;
	st,phy-tuning = <&usb_phy_tuning>;
	/* USER CODE END usbphyc_port0 */
};

&usbphyc_port1{
	u-boot,dm-pre-reloc;
	status = "okay";

	/* USER CODE BEGIN usbphyc_port1 */
  phy-supply = <&reg_3v3>;
	st,phy-tuning = <&usb_phy_tuning>;
	/* USER CODE END usbphyc_port1 */
};

/* USER CODE BEGIN addons */
&cpu0{
	cpu-supply = <&vddcore>;
};

&cpu1{
	cpu-supply = <&vddcore>;
};

&sram{

	dma_pool:dma_pool@0{
		reg = <0x50000 0x10000>;
		pool;
	};
};

&ipcc {
  status = "okay";
};

/* USER CODE END addons */
